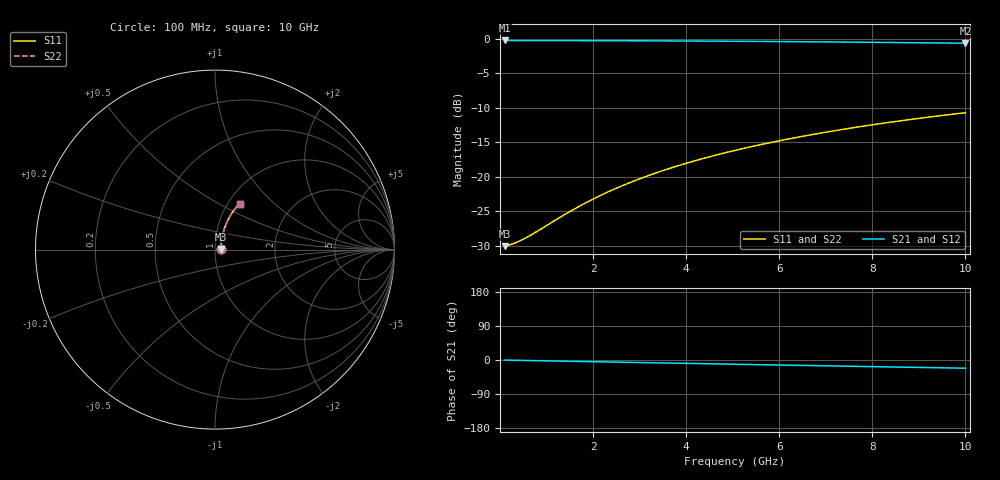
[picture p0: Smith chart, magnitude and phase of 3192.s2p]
# Hz S RI R 50.00
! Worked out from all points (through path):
!   100 points, 100 MHz to 10 GHz, reference 50 ohm
!   highest |S21| = -0.28 dB at 100 MHz (marker M1); lowest = -0.7 dB at 10 GHz (marker M2)
!   group delay of S21, straight-line fit = 6.03 ps
!   lowest |S11| = -30.0 dB at 100 MHz (marker M3), VSWR 1.07, Z = 53.2 + j0.312 ohm
!   |S11| at or under -10 dB: start of sweep to end of sweep
!   |S22| runs from -30.0 to -10.7 dB; largest |S21 - S12| = 0
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1e8  0.0313 0.00293  0.9687 -0.00377  0.9687 -0.00377  0.0313 0.00293
2e8  0.0316 0.00585  0.9684 -0.00754  0.9684 -0.00754  0.0316 0.00585
3e8  0.0318 0.00877  0.9682 -0.0113  0.9682 -0.0113  0.0318 0.00877
4e8  0.032 0.0117  0.968 -0.0151  0.968 -0.0151  0.032 0.0117
6e8  0.0324 0.0175  0.9676 -0.0226  0.9676 -0.0226  0.0324 0.0175
8e8  0.0329 0.0234  0.9671 -0.0301  0.9671 -0.0301  0.0329 0.0234
1.4e9  0.0347 0.0408  0.9652 -0.0526  0.9652 -0.0526  0.0347 0.0408
1.8e9  0.0363 0.0523  0.9636 -0.0675  0.9636 -0.0675  0.0363 0.0523
2.2e9  0.0383 0.0638  0.9615 -0.0824  0.9615 -0.0824  0.0383 0.0638
2.6e9  0.0405 0.0752  0.9592 -0.0971  0.9592 -0.0971  0.0405 0.0752
3e9  0.0432 0.0865  0.9565 -0.1118  0.9565 -0.1118  0.0432 0.0865
3.4e9  0.0461 0.0976  0.9534 -0.1264  0.9534 -0.1264  0.0461 0.0976
3.8e9  0.0494 0.1087  0.9501 -0.1408  0.9501 -0.1408  0.0494 0.1087
4.2e9  0.053 0.1196  0.9463 -0.1551  0.9463 -0.1551  0.053 0.1196
4.6e9  0.0569 0.1304  0.9423 -0.1693  0.9423 -0.1693  0.0569 0.1304
5.1e9  0.0623 0.1437  0.9368 -0.1868  0.9368 -0.1868  0.0623 0.1437
5.9e9  0.0718 0.1643  0.9269 -0.2142  0.9269 -0.2142  0.0718 0.1643
6.7e9  0.0824 0.1842  0.9159 -0.2409  0.9159 -0.2409  0.0824 0.1842
7.5e9  0.0942 0.2032  0.9037 -0.2667  0.9037 -0.2667  0.0942 0.2032
8.4e9  0.1085 0.2235  0.8889 -0.2947  0.8889 -0.2947  0.1085 0.2235
9.2e9  0.1222 0.2405  0.8746 -0.3186  0.8746 -0.3186  0.1222 0.2405
1e10  0.1367 0.2565  0.8595 -0.3415  0.8595 -0.3415  0.1367 0.2565
